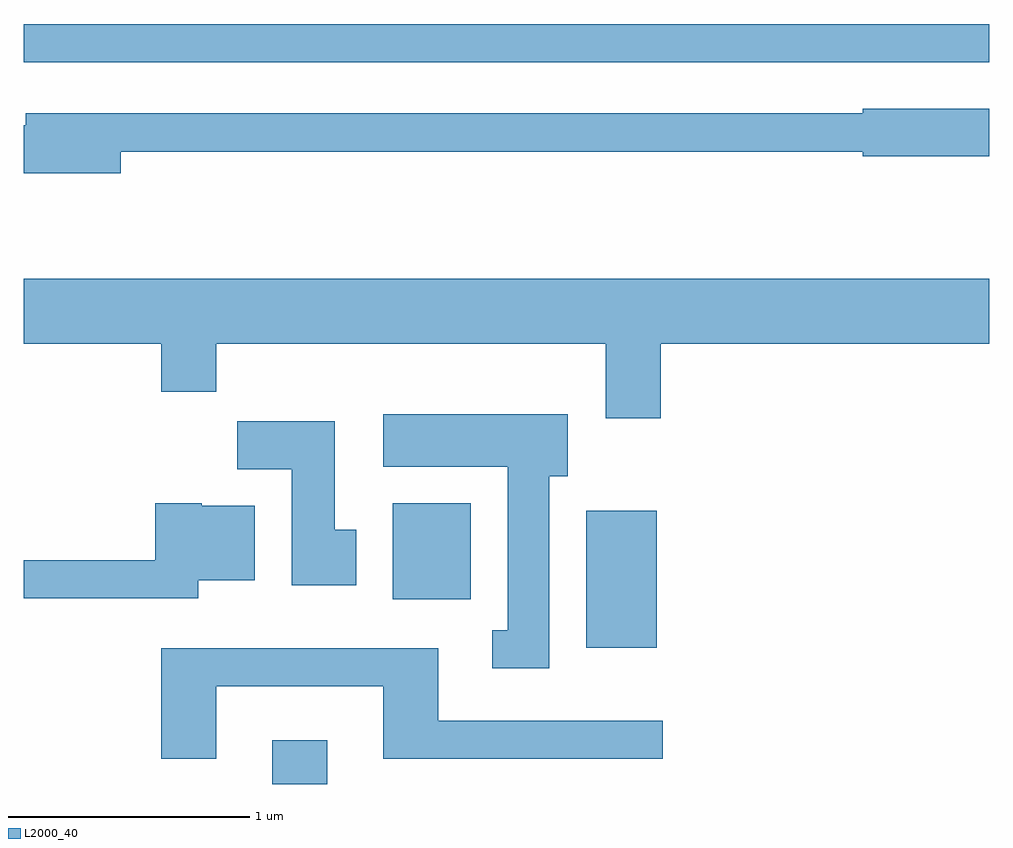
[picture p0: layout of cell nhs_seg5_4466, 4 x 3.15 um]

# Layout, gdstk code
import gdstk
lib = gdstk.Library(unit=1e-6, precision=1e-09)
def R(c, l, rs):  # rectangles x0, y0, x1, y1
    for r in rs: c.add(gdstk.rectangle(r[:2], r[2:], *l))
def P(c, l, *ps):  # polygons
    for p in ps: c.add(gdstk.Polygon(p, *l))
L2000_40 = (2000, 40)

nhs_seg5_4466 = lib.new_cell('nhs_seg5_4466')
R(nhs_seg5_4466, L2000_40, [(318.641,1466.072,318.869,1466.254), (319.941,1466.636,320.234,1467.204), (319.141,1466.836,319.464,1467.234), (317.611,1469.061,321.611,1469.219)])
P(nhs_seg5_4466, L2000_40, [(318.014,1468.691),(321.086,1468.691),(321.086,1468.671),(321.611,1468.671),(321.611,1468.869),(321.086,1468.869),(321.086,1468.849),(317.621,1468.849),(317.621,1468.799),(317.611,1468.799),(317.611,1468.601),(318.014,1468.601)],
  [(320.249,1467.896),(321.611,1467.896),(321.611,1468.164),(317.611,1468.164),(317.611,1467.896),(318.181,1467.896),(318.181,1467.696),(318.409,1467.696),(318.409,1467.896),(320.021,1467.896),(320.021,1467.586),(320.249,1467.586)],
  [(319.789,1467.346),(319.864,1467.346),(319.864,1467.604),(319.101,1467.604),(319.101,1467.386),(319.616,1467.386),(319.616,1466.709),(319.553,1466.709),(319.553,1466.551),(319.789,1466.551)],
  [(318.989,1467.124),(318.899,1467.124),(318.899,1467.574),(318.496,1467.574),(318.496,1467.376),(318.721,1467.376),(318.721,1466.896),(318.989,1466.896)],
  [(318.334,1466.916),(318.569,1466.916),(318.569,1467.224),(318.35,1467.224),(318.35,1467.234),(318.156,1467.234),(318.156,1466.999),(317.611,1466.999),(317.611,1466.841),(318.334,1466.841)],
  [(318.409,1466.476),(319.101,1466.476),(319.101,1466.176),(320.258,1466.176),(320.258,1466.334),(319.329,1466.334),(319.329,1466.634),(318.181,1466.634),(318.181,1466.176),(318.409,1466.176)])

lib.write_gds('nhs_seg5_4466.gds')
